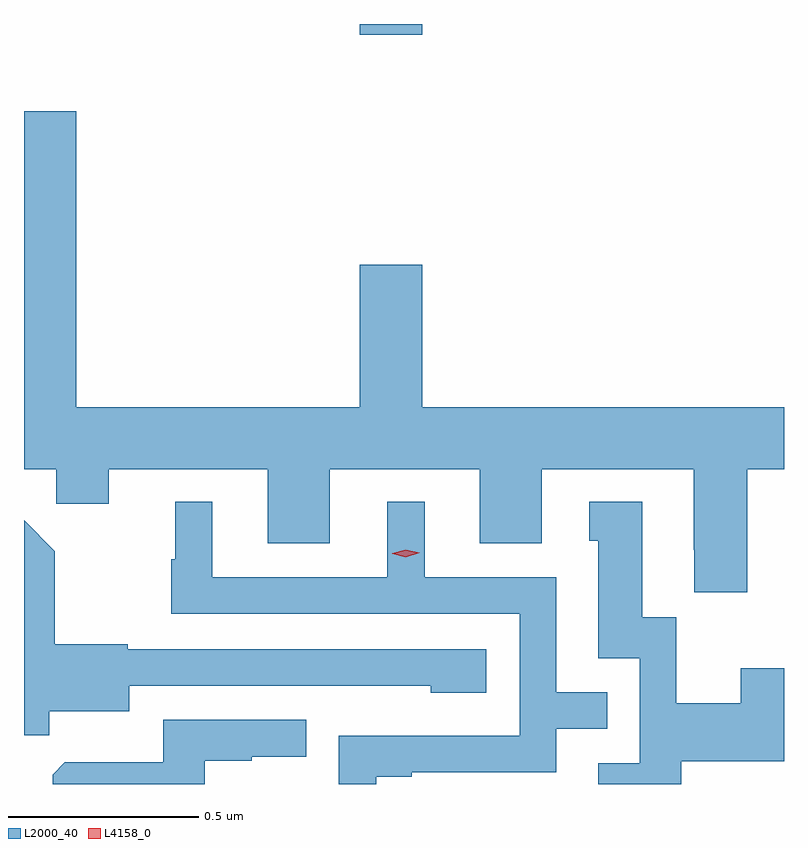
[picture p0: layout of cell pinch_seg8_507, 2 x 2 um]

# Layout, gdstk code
import gdstk
lib = gdstk.Library(unit=1e-6, precision=1e-09)
def R(c, l, rs):  # rectangles x0, y0, x1, y1
    for r in rs: c.add(gdstk.rectangle(r[:2], r[2:], *l))
def P(c, l, *ps):  # polygons
    for p in ps: c.add(gdstk.Polygon(p, *l))
L2000_40 = (2000, 40)
L4158_0 = (4158, 0)

pinch_seg8_507 = lib.new_cell('pinch_seg8_507')
R(pinch_seg8_507, L2000_40, [(236.936,1128.3,237.1,1128.328)])
P(pinch_seg8_507, L2000_40, [(237.955,1127.156),(238.052,1127.156),(238.052,1127.32),(237.1,1127.32),(237.1,1127.695),(236.936,1127.695),(236.936,1127.32),(236.189,1127.32),(236.189,1128.099),(236.052,1128.099),(236.052,1127.156),(236.137,1127.156),(236.137,1127.066),(236.275,1127.066),(236.275,1127.156),(236.693,1127.156),(236.693,1126.962),(236.857,1126.962),(236.857,1127.156),(237.251,1127.156),(237.251,1126.962),(237.415,1126.962),(237.415,1127.156),(237.815,1127.156),(237.815,1126.945),(237.816,1126.945),(237.816,1126.833),(237.955,1126.833)],
  [(237.781,1126.388),(238.052,1126.388),(238.052,1126.633),(237.938,1126.633),(237.938,1126.54),(237.768,1126.54),(237.768,1126.767),(237.679,1126.767),(237.679,1127.071),(237.539,1127.071),(237.539,1126.968),(237.563,1126.968),(237.563,1126.659),(237.672,1126.659),(237.672,1126.383),(237.563,1126.383),(237.563,1126.328),(237.781,1126.328)],
  [(236.979,1126.347),(237.073,1126.347),(237.073,1126.359),(237.453,1126.359),(237.453,1126.473),(237.587,1126.473),(237.587,1126.569),(237.453,1126.569),(237.453,1126.872),(237.106,1126.872),(237.106,1127.071),(237.008,1127.071),(237.008,1126.872),(236.548,1126.872),(236.548,1127.071),(236.45,1127.071),(236.45,1126.92),(236.439,1126.92),(236.439,1126.776),(237.357,1126.776),(237.357,1126.455),(236.88,1126.455),(236.88,1126.328),(236.979,1126.328)],
  [(236.118,1126.52),(236.329,1126.52),(236.329,1126.587),(236.887,1126.587),(236.887,1126.586),(237.123,1126.586),(237.123,1126.568),(237.268,1126.568),(237.268,1126.683),(236.325,1126.683),(236.325,1126.696),(236.133,1126.696),(236.133,1126.941),(236.052,1127.022),(236.052,1126.456),(236.118,1126.456)],
  [(236.528,1126.389),(236.651,1126.389),(236.651,1126.4),(236.795,1126.4),(236.795,1126.497),(236.418,1126.497),(236.418,1126.385),(236.159,1126.385),(236.127,1126.353),(236.127,1126.328),(236.528,1126.328)])
P(pinch_seg8_507, L4158_0, [(237.057,1126.925),(237.021,1126.934),(237.021,1126.934),(237.021,1126.935),(237.057,1126.945),(237.093,1126.936),(237.093,1126.936),(237.093,1126.936)])

lib.write_gds('pinch_seg8_507.gds')
